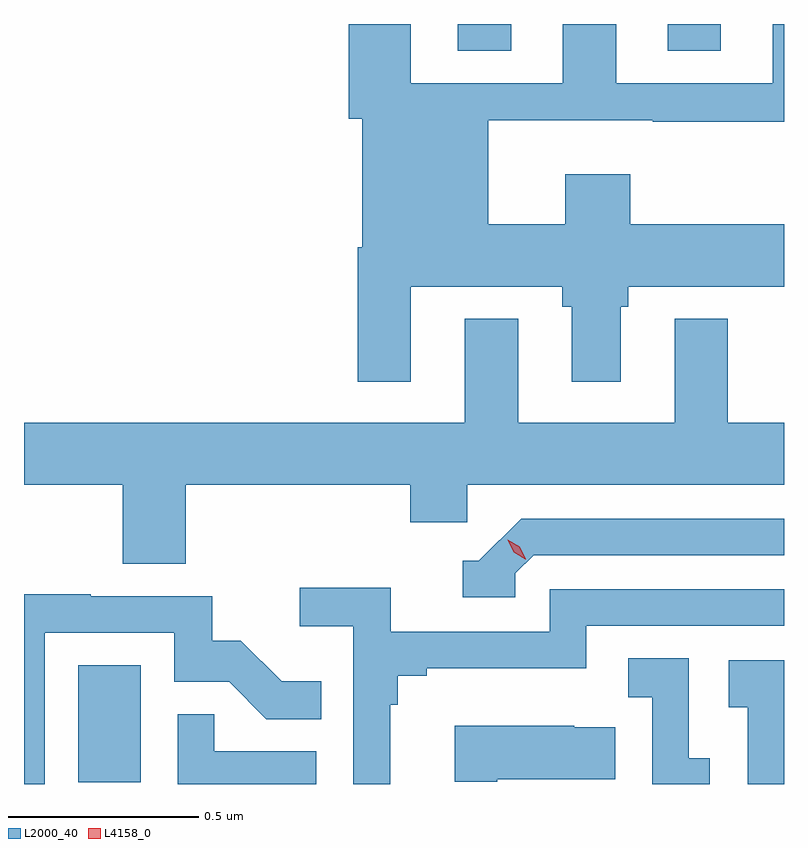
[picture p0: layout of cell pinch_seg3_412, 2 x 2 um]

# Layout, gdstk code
import gdstk
lib = gdstk.Library(unit=1e-6, precision=1e-09)
def R(c, l, rs):  # rectangles x0, y0, x1, y1
    for r in rs: c.add(gdstk.rectangle(r[:2], r[2:], *l))
def P(c, l, *ps):  # polygons
    for p in ps: c.add(gdstk.Polygon(p, *l))
L2000_40 = (2000, 40)
L4158_0 = (4158, 0)

pinch_seg3_412 = lib.new_cell('pinch_seg3_412')
R(pinch_seg3_412, L2000_40, [(908.798,705.462,908.962,705.769), (909.797,707.386,909.937,707.457), (910.349,707.386,910.489,707.457)])
P(pinch_seg3_412, L2000_40, [(909.673,706.766),(910.072,706.766),(910.072,706.713),(910.097,706.713),(910.097,706.515),(910.225,706.515),(910.225,706.713),(910.245,706.713),(910.245,706.766),(910.655,706.766),(910.655,706.93),(910.25,706.93),(910.25,707.062),(910.079,707.062),(910.079,706.93),(909.877,706.93),(909.877,707.204),(910.309,707.204),(910.309,707.2),(910.655,707.2),(910.655,707.457),(910.625,707.457),(910.625,707.301),(910.213,707.301),(910.213,707.457),(910.073,707.457),(910.073,707.301),(909.673,707.301),(909.673,707.457),(909.509,707.457),(909.509,707.208),(909.545,707.208),(909.545,706.87),(909.533,706.87),(909.533,706.515),(909.673,706.515)],
  [(909.08,706.244),(909.671,706.244),(909.671,706.146),(909.822,706.146),(909.822,706.244),(910.655,706.244),(910.655,706.408),(910.507,706.408),(910.507,706.681),(910.367,706.681),(910.367,706.408),(909.955,706.408),(909.955,706.681),(909.815,706.681),(909.815,706.408),(908.655,706.408),(908.655,706.244),(908.915,706.244),(908.915,706.036),(909.08,706.036)],
  [(909.948,706.011),(909.996,706.059),(910.655,706.059),(910.655,706.155),(909.963,706.155),(909.852,706.044),(909.809,706.044),(909.809,705.948),(909.948,705.948)],
  [(909.619,705.665),(909.638,705.665),(909.638,705.742),(909.715,705.742),(909.715,705.761),(910.134,705.761),(910.134,705.873),(910.655,705.873),(910.655,705.969),(910.038,705.969),(910.038,705.858),(909.62,705.858),(909.62,705.974),(909.381,705.974),(909.381,705.872),(909.522,705.872),(909.522,705.457),(909.619,705.457)],
  [(908.709,705.855),(909.051,705.855),(909.051,705.726),(909.195,705.726),(909.293,705.628),(909.437,705.628),(909.437,705.727),(909.333,705.727),(909.226,705.834),(909.15,705.834),(909.15,705.951),(908.831,705.951),(908.831,705.956),(908.655,705.956),(908.655,705.457),(908.709,705.457)],
  [(910.459,705.525),(910.404,705.525),(910.404,705.788),(910.245,705.788),(910.245,705.685),(910.308,705.685),(910.308,705.457),(910.459,705.457)],
  [(910.655,705.783),(910.509,705.783),(910.509,705.659),(910.56,705.659),(910.56,705.457),(910.655,705.457)],
  [(909.424,705.543),(909.155,705.543),(909.155,705.641),(909.06,705.641),(909.06,705.457),(909.424,705.457)],
  [(909.901,705.47),(910.211,705.47),(910.211,705.607),(910.103,705.607),(910.103,705.61),(909.789,705.61),(909.789,705.463),(909.901,705.463)])
P(pinch_seg3_412, L4158_0, [(909.974,706.048),(909.944,706.067),(909.928,706.1),(909.928,706.1),(909.928,706.1),(909.959,706.081),(909.975,706.048),(909.975,706.048)])

lib.write_gds('pinch_seg3_412.gds')
